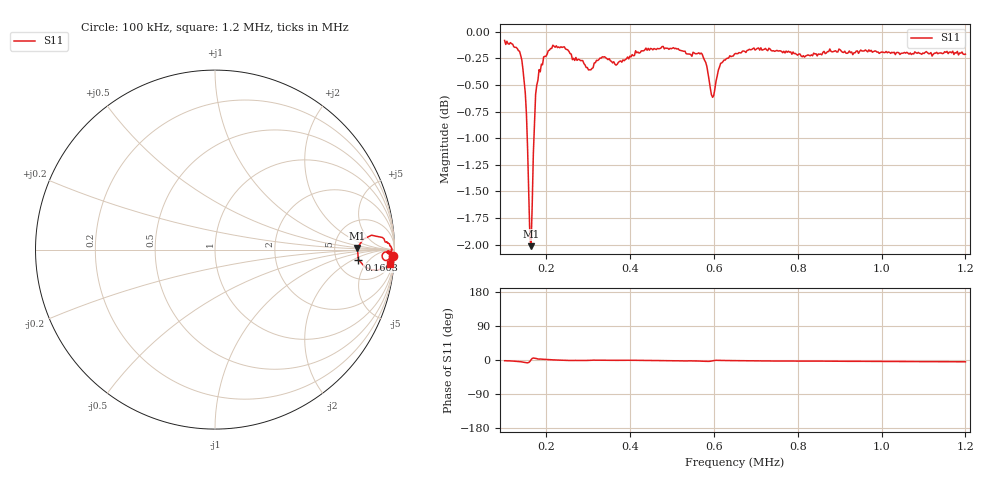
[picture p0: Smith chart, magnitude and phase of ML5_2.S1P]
!Agilent Technologies,E5071C,MY46100265,A.07.02
!Date: Wed Mar 04 14:58:18 2020
!Data & Calibration Information:
!Freq	S11:SOLT1(ON)
# Hz S MA R 50
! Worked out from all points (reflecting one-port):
!   402 points, 100 kHz to 1.2 MHz, reference 50 ohm
!   lowest |S11| = -2.0 dB at 163.1 kHz (marker M1), VSWR 8.67, Z = 432 + j22.3 ohm
!   phase of S11 starts at -2 deg and turns -3 deg over the sweep
!   S11 on the Smith chart (normalised r, x): 100 kHz: 15, -54; 160.3 kHz: 8.25, -2.54; 1.2 MHz: 7, -22
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100000  0.9904 -2.0
124688  0.9831 -3.0
141147  0.9696 -5.0
146633  0.9473 -6.2
152120  0.9147 -7.2
154863  0.8814 -7.4
160349  0.8008 -4.0
163092  0.7931 0.7
168579  0.876 5.3
171322  0.9054 4.7
176808  0.9438 3.6
182294  0.9597 2.4
209726  0.9818 0.8
239900  0.9835 -0.6
259102  0.976 -1.3
300249  0.9594 -1.0
333167  0.9731 -0.9
377057  0.9687 -0.7
514214  0.9817 -2.1
569077  0.977 -2.9
585536  0.9561 -3.7
596509  0.9315 -2.2
607481  0.9532 -0.8
651372  0.9767 -1.6
788529  0.9782 -2.9
925686  0.9775 -3.5
1062843  0.977 -4.0
1200000  0.9759 -4.7
